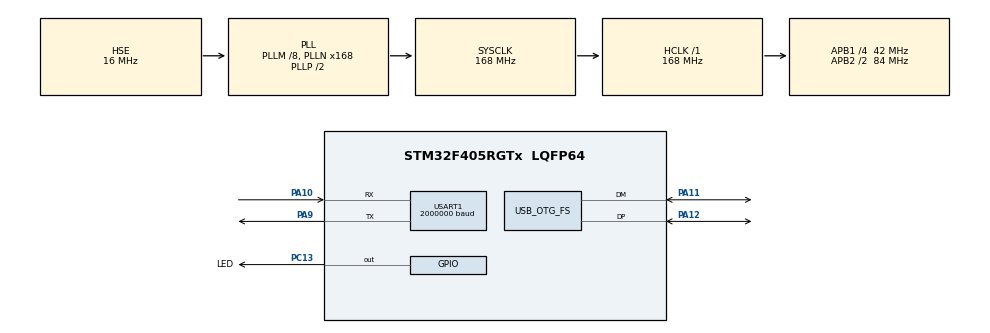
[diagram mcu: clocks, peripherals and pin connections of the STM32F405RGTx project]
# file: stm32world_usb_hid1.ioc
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Mcu.Family=STM32F4
Mcu.Name=STM32F405RGTx
Mcu.Package=LQFP64
NVIC.OTG_FS_IRQn=true\:0\:0\:false\:false\:true\:true\:true\:true
NVIC.PriorityGroup=NVIC_PRIORITYGROUP_4
PA10.Mode=Asynchronous
PA10.Signal=USART1_RX
PA11.Mode=Device_Only
PA11.Signal=USB_OTG_FS_DM
PA12.Mode=Device_Only
PA12.Signal=USB_OTG_FS_DP
PA13.Mode=Trace_Asynchronous_SW
PA13.Signal=SYS_JTMS-SWDIO
PA14.Mode=Trace_Asynchronous_SW
PA14.Signal=SYS_JTCK-SWCLK
PA9.Mode=Asynchronous
PA9.Signal=USART1_TX
PB3.Mode=Trace_Asynchronous_SW
PB3.Signal=SYS_JTDO-SWO
PC13-ANTI_TAMP.GPIO_Label=LED
PC13-ANTI_TAMP.GPIO_ModeDefaultOutputPP=GPIO_MODE_OUTPUT_OD
PC13-ANTI_TAMP.GPIO_PuPd=GPIO_NOPULL
PC13-ANTI_TAMP.PinState=GPIO_PIN_SET
PC13-ANTI_TAMP.Signal=GPIO_Output
PH0-OSC_IN.Mode=HSE-External-Oscillator
PH0-OSC_IN.Signal=RCC_OSC_IN
PH1-OSC_OUT.Mode=HSE-External-Oscillator
PH1-OSC_OUT.Signal=RCC_OSC_OUT
ProjectManager.HeapSize=0x200
ProjectManager.StackSize=0x400
ProjectManager.TargetToolchain=STM32CubeIDE
RCC.48MHZClocksFreq_Value=48000000
RCC.AHBFreq_Value=168000000
RCC.APB1CLKDivider=RCC_HCLK_DIV4
RCC.APB1Freq_Value=42000000
RCC.APB1TimFreq_Value=84000000
RCC.APB2CLKDivider=RCC_HCLK_DIV2
RCC.APB2Freq_Value=84000000
RCC.APB2TimFreq_Value=168000000
RCC.CortexFreq_Value=168000000
RCC.HCLKFreq_Value=168000000
RCC.HSE_VALUE=16000000
RCC.HSI_VALUE=16000000
RCC.LSE_VALUE=32768
RCC.PLLM=8
RCC.PLLN=168
RCC.PLLQ=7
RCC.SYSCLKFreq_VALUE=168000000
RCC.SYSCLKSource=RCC_SYSCLKSOURCE_PLLCLK
RCC.VCOOutputFreq_Value=336000000
USART1.BaudRate=2000000
USART1.OverSampling=UART_OVERSAMPLING_8
USART1.VirtualMode=VM_ASYNC
USB_OTG_FS.VirtualMode=Device_Only
board=custom

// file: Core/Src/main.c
/* USER CODE BEGIN Header */
/**
 ******************************************************************************
 * @file           : main.c
 * @brief          : Main program body
 ******************************************************************************
 * @attention
 *
 * Copyright (c) 2025 STM32World <lth@stm32world.com>
 * All rights reserved.
 *
 * This software is licensed under terms that can be found in the LICENSE file
 * in the root directory of this software component.
 * If no LICENSE file comes with this software, it is provided AS-IS.
 *
 ******************************************************************************
 */
/* USER CODE END Header */
#include "main.h"

/* USER CODE BEGIN Includes */
#include <stdlib.h>
#include <stdio.h>
#include "usb_device.h"
#include "usbd_customhid.h"
/* USER CODE END Includes */

UART_HandleTypeDef huart1;

PCD_HandleTypeDef hpcd_USB_OTG_FS;

void SystemClock_Config(void);
static void MX_GPIO_Init(void);
static void MX_USART1_UART_Init(void);
static void MX_USB_OTG_FS_PCD_Init(void);

/* USER CODE BEGIN 0 */

// Send printf to uart1
int _write(int fd, char *ptr, int len) {
    HAL_StatusTypeDef hstatus;

    if (fd == 1 || fd == 2) {
        hstatus = HAL_UART_Transmit(&huart1, (uint8_t*) ptr, len, HAL_MAX_DELAY);
        if (hstatus == HAL_OK)
            return len;
        else
            return -1;
    }
    return -1;
}

/* USER CODE END 0 */

int main(void)
{

    /* MCU Configuration--------------------------------------------------------*/

    /* Reset of all peripherals, Initializes the Flash interface and the Systick. */
    HAL_Init();

    /* Configure the system clock */
    SystemClock_Config();

    /* Initialize all configured peripherals */
    MX_GPIO_Init();
    MX_USART1_UART_Init();
    /* USER CODE BEGIN 2 */

    printf("\n\n\n\nStarting HID Test 1\n");

    HAL_PCD_MspInit(&hpcd_USB_OTG_FS);
    MX_USB_DEVICE_Init();

    /* USER CODE END 2 */

    /* Infinite loop */
    /* USER CODE BEGIN WHILE */

    uint32_t loop_cnt = 0, now = 0, next_blink = 500, next_tick = 1000;

    while (1) {

        now = uwTick;

        if (now >= next_blink) {
            HAL_GPIO_TogglePin(LED_GPIO_Port, LED_Pin);
            next_blink = now + 500;
        }

        if (now >= next_tick) {
            printf("Tick %lu (loop=%lu)\n", now / 1000, loop_cnt);
            loop_cnt = 0;
            next_tick = now + 1000;
        }

        ++loop_cnt;

        /* USER CODE END WHILE */

    }
}

void SystemClock_Config(void)
{
    RCC_OscInitTypeDef RCC_OscInitStruct = { 0 };
    RCC_ClkInitTypeDef RCC_ClkInitStruct = { 0 };

    /** Configure the main internal regulator output voltage
     */
    __HAL_RCC_PWR_CLK_ENABLE();
    __HAL_PWR_VOLTAGESCALING_CONFIG(PWR_REGULATOR_VOLTAGE_SCALE1);

    /** Initializes the RCC Oscillators according to the specified parameters
     * in the RCC_OscInitTypeDef structure.
     */
    RCC_OscInitStruct.OscillatorType = RCC_OSCILLATORTYPE_HSE;
    RCC_OscInitStruct.HSEState = RCC_HSE_ON;
    RCC_OscInitStruct.PLL.PLLState = RCC_PLL_ON;
    RCC_OscInitStruct.PLL.PLLSource = RCC_PLLSOURCE_HSE;
    RCC_OscInitStruct.PLL.PLLM = 8;
    RCC_OscInitStruct.PLL.PLLN = 168;
    RCC_OscInitStruct.PLL.PLLP = RCC_PLLP_DIV2;
    RCC_OscInitStruct.PLL.PLLQ = 7;
    if (HAL_RCC_OscConfig(&RCC_OscInitStruct) != HAL_OK)
            {
        Error_Handler();
    }

    /** Initializes the CPU, AHB and APB buses clocks
     */
    RCC_ClkInitStruct.ClockType = RCC_CLOCKTYPE_HCLK | RCC_CLOCKTYPE_SYSCLK
            | RCC_CLOCKTYPE_PCLK1 | RCC_CLOCKTYPE_PCLK2;
    RCC_ClkInitStruct.SYSCLKSource = RCC_SYSCLKSOURCE_PLLCLK;
    RCC_ClkInitStruct.AHBCLKDivider = RCC_SYSCLK_DIV1;
    RCC_ClkInitStruct.APB1CLKDivider = RCC_HCLK_DIV4;
    RCC_ClkInitStruct.APB2CLKDivider = RCC_HCLK_DIV2;

    if (HAL_RCC_ClockConfig(&RCC_ClkInitStruct, FLASH_LATENCY_5) != HAL_OK)
            {
        Error_Handler();
    }
}

static void MX_USART1_UART_Init(void)
{

    huart1.Instance = USART1;
    huart1.Init.BaudRate = 2000000;
    huart1.Init.WordLength = UART_WORDLENGTH_8B;
    huart1.Init.StopBits = UART_STOPBITS_1;
    huart1.Init.Parity = UART_PARITY_NONE;
    huart1.Init.Mode = UART_MODE_TX_RX;
    huart1.Init.HwFlowCtl = UART_HWCONTROL_NONE;
    huart1.Init.OverSampling = UART_OVERSAMPLING_8;
    if (HAL_UART_Init(&huart1) != HAL_OK)
            {
        Error_Handler();
    }

}

static void MX_USB_OTG_FS_PCD_Init(void)
{

    hpcd_USB_OTG_FS.Instance = USB_OTG_FS;
    hpcd_USB_OTG_FS.Init.dev_endpoints = 4;
    hpcd_USB_OTG_FS.Init.speed = PCD_SPEED_FULL;
    hpcd_USB_OTG_FS.Init.dma_enable = DISABLE;
    hpcd_USB_OTG_FS.Init.phy_itface = PCD_PHY_EMBEDDED;
    hpcd_USB_OTG_FS.Init.Sof_enable = DISABLE;
    hpcd_USB_OTG_FS.Init.low_power_enable = DISABLE;
    hpcd_USB_OTG_FS.Init.lpm_enable = DISABLE;
    hpcd_USB_OTG_FS.Init.vbus_sensing_enable = DISABLE;
    hpcd_USB_OTG_FS.Init.use_dedicated_ep1 = DISABLE;
    if (HAL_PCD_Init(&hpcd_USB_OTG_FS) != HAL_OK)
            {
        Error_Handler();
    }

}

static void MX_GPIO_Init(void)
{
    GPIO_InitTypeDef GPIO_InitStruct = { 0 };

    /* GPIO Ports Clock Enable */
    __HAL_RCC_GPIOC_CLK_ENABLE();
    __HAL_RCC_GPIOH_CLK_ENABLE();
    __HAL_RCC_GPIOA_CLK_ENABLE();
    __HAL_RCC_GPIOB_CLK_ENABLE();

    /*Configure GPIO pin Output Level */
    HAL_GPIO_WritePin(LED_GPIO_Port, LED_Pin, GPIO_PIN_SET);

    /*Configure GPIO pin : LED_Pin */
    GPIO_InitStruct.Pin = LED_Pin;
    GPIO_InitStruct.Mode = GPIO_MODE_OUTPUT_OD;
    GPIO_InitStruct.Pull = GPIO_NOPULL;
    GPIO_InitStruct.Speed = GPIO_SPEED_FREQ_LOW;
    HAL_GPIO_Init(LED_GPIO_Port, &GPIO_InitStruct);

}

void Error_Handler(void)
{
    __disable_irq();
    while (1)
    {
    }
}
